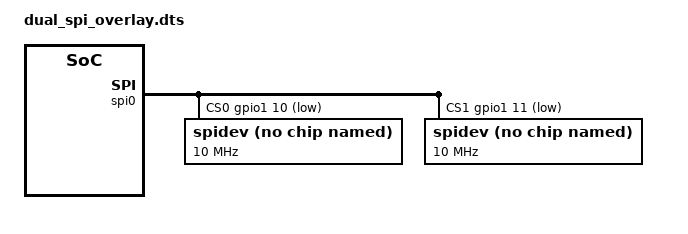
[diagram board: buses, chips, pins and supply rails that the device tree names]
/dts-v1/;
/plugin/;

/* * Overlay kích hoạt SPI0 với 2 Chip Select (CS0 & CS1)
 * Target: Radxa 5B (RK3588)
 */

&spi0 {
    status = "okay";
    #address-cells = <1>;
    #size-cells = <0>;

    /* QUAN TRỌNG: Khai báo số lượng CS là 2 */
    num-cs = <2>;

    /* * Cấu hình chân GPIO làm Chip Select
     * &gpio1: Bank GPIO1
     * 10: Index của GPIO1_B2 (Group B bắt đầu từ 8 -> B0=8, B1=9, B2=10)
     * 11: Index của GPIO1_B3 (B3=11)
     * 1: Cờ GPIO_ACTIVE_LOW
     */
    cs-gpios = <&gpio1 10 1>, <&gpio1 11 1>;

    /* Thiết bị 1: spidev0.0 dùng CS0 (Pin 24) */
    spidev@0 {
        compatible = "rockchip,spidev";
        reg = <0>;
        spi-max-frequency = <10000000>; /* 10 MHz */
        status = "okay";
    };

    /* Thiết bị 2: spidev0.1 dùng CS1 (Pin 26) */
    spidev@1 {
        compatible = "rockchip,spidev";
        reg = <1>;
        spi-max-frequency = <10000000>; /* 10 MHz */
        status = "okay";
    };
};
